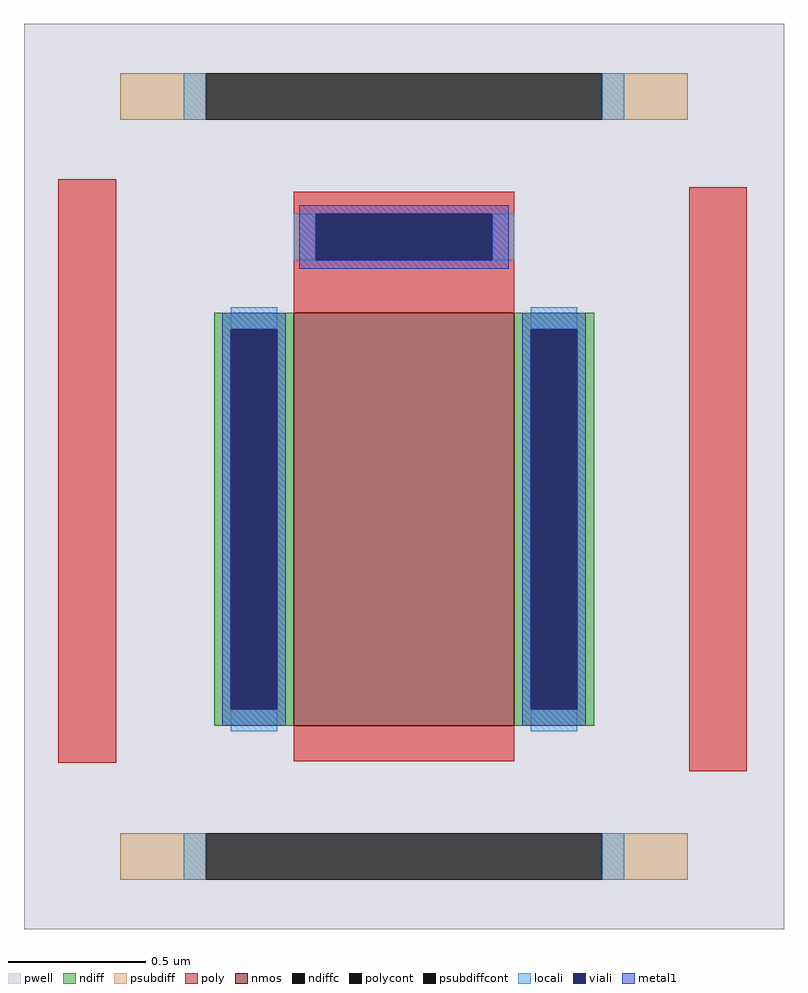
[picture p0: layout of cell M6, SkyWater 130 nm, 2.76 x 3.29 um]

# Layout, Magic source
magic
tech sky130B
magscale 1 2
<< pwell >>
rect -276 -329 276 329
<< nmos >>
rect -80 -181 80 119
<< ndiff >>
rect -138 107 -80 119
rect -138 -169 -126 107
rect -92 -169 -80 107
rect -138 -181 -80 -169
rect 80 107 138 119
rect 80 -169 92 107
rect 126 -169 138 107
rect 80 -181 138 -169
<< ndiffc >>
rect -126 -169 -92 107
rect 92 -169 126 107
<< psubdiff >>
rect -206 259 -144 293
rect 144 259 206 293
rect -206 -293 -144 -259
rect 144 -293 206 -259
<< psubdiffcont >>
rect -144 259 144 293
rect -144 -293 144 -259
<< poly >>
rect -251 -208 -209 216
rect -80 191 80 207
rect -80 157 -64 191
rect 64 157 80 191
rect -80 119 80 157
rect -80 -207 80 -181
rect 207 -214 249 210
<< polycont >>
rect -64 157 64 191
<< locali >>
rect -160 259 -144 293
rect 144 259 160 293
rect -80 157 -64 191
rect 64 157 80 191
rect -126 107 -92 123
rect -126 -185 -92 -169
rect 92 107 126 123
rect 92 -185 126 -169
rect -160 -293 -144 -259
rect 144 -293 160 -259
<< viali >>
rect -64 157 64 191
rect -126 -169 -92 107
rect 92 -169 126 107
<< metal1 >>
rect -76 191 76 197
rect -76 157 -64 191
rect 64 157 76 191
rect -76 151 76 157
rect -132 107 -86 119
rect -132 -169 -126 107
rect -92 -169 -86 107
rect -132 -181 -86 -169
rect 86 107 132 119
rect 86 -169 92 107
rect 126 -169 132 107
rect 86 -181 132 -169
<< properties >>
string FIXED_BBOX -223 -276 223 276
string gencell sky130_fd_pr__nfet_01v8
string library sky130
string parameters w 1.5 l .8 m 1 nf 1 diffcov 100 polycov 100 guard 1 glc 0 grc 0 gtc 1 gbc 1 tbcov 100 rlcov 100 topc 1 botc 0 poverlap 0 doverlap 1 lmin 0.15 wmin 0.42 compatible {sky130_fd_pr__nfet_01v8 sky130_fd_pr__nfet_01v8_lvt  sky130_fd_bs_flash__special_sonosfet_star  sky130_fd_pr__nfet_g5v0d10v5 sky130_fd_pr__nfet_05v0_nvt  sky130_fd_pr__nfet_03v3_nvt} full_metal 0 viasrc 100 viadrn 100 viagate 100 viagb 0 viagr 0 viagl 0 viagt 0
<< end >>
